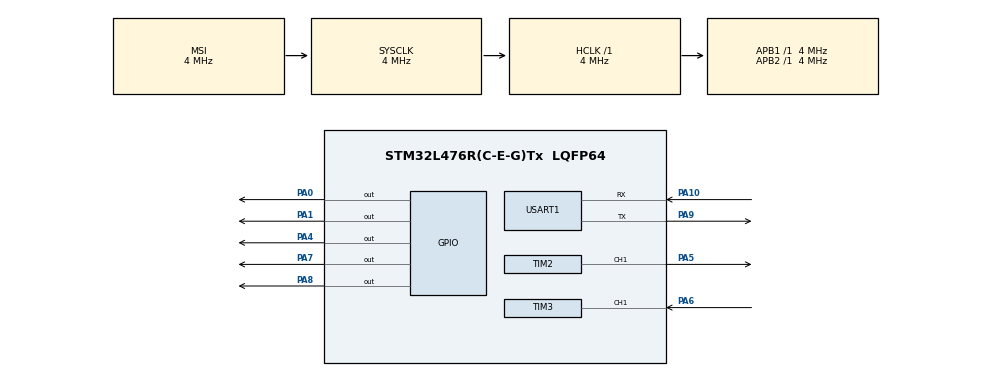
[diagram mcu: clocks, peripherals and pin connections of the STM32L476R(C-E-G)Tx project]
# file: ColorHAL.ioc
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Mcu.Family=STM32L4
Mcu.Name=STM32L476R(C-E-G)Tx
Mcu.Package=LQFP64
NVIC.PriorityGroup=NVIC_PRIORITYGROUP_4
NVIC.TIM4_IRQn=true\:0\:0\:false\:false\:true\:true\:true
PA0.Signal=GPIO_Output
PA1.Signal=GPIO_Output
PA10.Mode=Asynchronous
PA10.Signal=USART1_RX
PA4.Signal=GPIO_Output
PA5.Signal=S_TIM2_CH1
PA6.Signal=S_TIM3_CH1
PA7.Signal=GPIO_Output
PA8.Signal=GPIO_Output
PA9.Mode=Asynchronous
PA9.Signal=USART1_TX
ProjectManager.HeapSize=0x200
ProjectManager.StackSize=0x400
ProjectManager.TargetToolchain=MDK-ARM V5.27
RCC.ADCFreq_Value=64000000
RCC.AHBFreq_Value=4000000
RCC.APB1Freq_Value=4000000
RCC.APB1TimFreq_Value=4000000
RCC.APB2Freq_Value=4000000
RCC.APB2TimFreq_Value=4000000
RCC.CortexFreq_Value=4000000
RCC.HCLKFreq_Value=4000000
RCC.HSE_VALUE=8000000
RCC.HSI_VALUE=16000000
RCC.LSE_VALUE=32768
RCC.MSI_VALUE=4000000
RCC.PLLN=10
RCC.PLLSourceVirtual=RCC_PLLSOURCE_HSI
RCC.PREFETCH_ENABLE=1
RCC.SYSCLKFreq_VALUE=4000000
RCC.USBFreq_Value=64000000
RCC.VCOOutputFreq_Value=160000000
SH.S_TIM2_CH1.0=TIM2_CH1,PWM Generation1 CH1
SH.S_TIM3_CH1.0=TIM3_CH1,TriggerSource_TI1FP1
TIM2.Channel-PWM\ Generation1\ CH1=TIM_CHANNEL_1
TIM2.Period=39
TIM2.Prescaler=9
TIM3.CounterMode=TIM_COUNTERMODE_UP
TIM3.Period=0xffff
TIM3.Prescaler=0
TIM3.Slave_TriggerPolarity=TIM_TRIGGERPOLARITY_FALLING
TIM3.TIM_MasterOutputTrigger=TIM_TRGO_UPDATE
TIM3.TIM_MasterSlaveMode=TIM_MASTERSLAVEMODE_DISABLE
TIM4.Period=3999
TIM4.Prescaler=9
USART1.VirtualMode-Asynchronous=VM_ASYNC
VP_TIM2_VS_ClockSourceINT.Mode=Internal
VP_TIM3_VS_ControllerModeClock.Mode=Clock Mode
VP_TIM4_VS_ClockSourceINT.Mode=Internal
board=NUCLEO-L476RG

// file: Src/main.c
/* USER CODE BEGIN Header */
/**
  ******************************************************************************
  * @file           : main.c
  * @brief          : Main program body
  ******************************************************************************
  * @attention
  *
  * <h2><center>&copy; Copyright (c) 2021 STMicroelectronics.
  * All rights reserved.</center></h2>
  *
  * This software component is licensed by ST under BSD 3-Clause license,
  * the "License"; You may not use this file except in compliance with the
  * License. You may obtain a copy of the License at:
  *                        opensource.org/licenses/BSD-3-Clause
  *
  ******************************************************************************
  */
/* USER CODE END Header */

#include "main.h"

TIM_HandleTypeDef htim2;
TIM_HandleTypeDef htim3;
TIM_HandleTypeDef htim4;

UART_HandleTypeDef huart1;

void SystemClock_Config(void);
static void MX_GPIO_Init(void);
static void MX_TIM3_Init(void);
static void MX_TIM4_Init(void);
static void MX_TIM2_Init(void);
static void MX_USART1_UART_Init(void);

/* USER CODE BEGIN 0 */
short count; //用来判断是第几次
short RGB[3];//用来存放读取回来的数据
short R,G,B; //存放比例系数

char Test1[]="#5P825S300#4P1475S300#3P1600S300#2P2000S300#1P570S300#0P1000S300\r\n";
char Test2[]="#5P1520S300#4P1240S300#3P1300S300#2P1670S300#1P570S300#0P1000S300\r\n";
char Test3[]="#5P1520S300#4P1240S300#3P1060S300#2P1670S300#1P570S300#0P1000S300\r\n";
char Test4[]="#5P1520S300#4P1240S300#3P1060S300#2P1670S300#1P570S300#0P2200S300\r\n";
char Test5[]="#5P1520S300#4P1240S300#3P1200S300#2P1670S300#1P570S300#0P2200S300\r\n";
char Test6[]="#5P1120S300#4P1370S300#3P990S300#2P1670S300#1P570S300#0P2200S300\r\n";
char Test7[]="#5P1120S300#4P1370S300#3P990S300#2P1670S300#1P570S300#0P1000S300\r\n";

void Set_Speed(int speed)
{

	TIM_OC_InitTypeDef sConfigOC = {0};

	sConfigOC.OCMode = TIM_OCMODE_PWM1;
	sConfigOC.Pulse = speed;
	sConfigOC.OCPolarity = TIM_OCPOLARITY_HIGH;
	sConfigOC.OCFastMode = TIM_OCFAST_DISABLE;
	if (HAL_TIM_PWM_ConfigChannel(&htim2, &sConfigOC, TIM_CHANNEL_1) != HAL_OK)
	{
		Error_Handler();
	}
 }
void Turn_Forward(void)
{
	HAL_GPIO_WritePin(GPIOA,GPIO_PIN_4, GPIO_PIN_SET);      //PA4=INB1    PA5=INA1
	Set_Speed(18);
	HAL_TIM_PWM_Start(&htim2,TIM_CHANNEL_1);
//	HAL_GPIO_WritePin(GPIOA,GPIO_PIN_5, GPIO_PIN_SET);
}

void Turn_Back(void)
{

	HAL_GPIO_WritePin(GPIOA, GPIO_PIN_4, GPIO_PIN_RESET);
	Set_Speed(30);
	HAL_TIM_PWM_Start(&htim2,TIM_CHANNEL_1);
}

void Turn_Off(void)
{
	HAL_GPIO_WritePin(GPIOA,GPIO_PIN_4, GPIO_PIN_RESET);      //PA4=INB1    PA5=INA1
	Set_Speed(20);
	HAL_TIM_PWM_Start(&htim2,TIM_CHANNEL_1);
}
void Taking(void)
{
	Turn_Off();
	HAL_UART_Transmit(&huart1,(uint8_t *)Test1,70,10);
	HAL_Delay(3000);
	HAL_UART_Transmit(&huart1,(uint8_t *)Test2,70,10);
	HAL_Delay(3000);
	HAL_UART_Transmit(&huart1,(uint8_t *)Test3,70,10);
	HAL_Delay(3000);
	HAL_UART_Transmit(&huart1,(uint8_t *)Test4,70,10);
	HAL_Delay(3000);
	HAL_UART_Transmit(&huart1,(uint8_t *)Test5,70,10);
	HAL_Delay(3000);
	HAL_UART_Transmit(&huart1,(uint8_t *)Test6,70,10);
	HAL_Delay(3000);
	HAL_UART_Transmit(&huart1,(uint8_t *)Test7,70,10);
	HAL_Delay(3000);
	HAL_UART_Transmit(&huart1,(uint8_t *)Test1,70,10);
	HAL_Delay(3000);
}
/* USER CODE END 0 */

int main(void)
{

  /* MCU Configuration--------------------------------------------------------*/

  /* Reset of all peripherals, Initializes the Flash interface and the Systick. */
  HAL_Init();

  /* Configure the system clock */
  SystemClock_Config();

  /* Initialize all configured peripherals */
  MX_GPIO_Init();
  MX_TIM3_Init();
  MX_TIM4_Init();
  MX_TIM2_Init();
  MX_USART1_UART_Init();
  /* USER CODE BEGIN 2 */
  HAL_GPIO_WritePin(GPIOA, GPIO_PIN_4, GPIO_PIN_SET);         //INA1
  HAL_GPIO_WritePin(GPIOA, GPIO_PIN_0, GPIO_PIN_RESET);       //S2
  HAL_GPIO_WritePin(GPIOA, GPIO_PIN_1, GPIO_PIN_RESET);       //S3
  HAL_GPIO_WritePin(GPIOA, GPIO_PIN_7, GPIO_PIN_SET);         //S0
  HAL_GPIO_WritePin(GPIOA, GPIO_PIN_8, GPIO_PIN_SET);         //S1
  __HAL_TIM_CLEAR_IT(&htim4,TIM_IT_UPDATE);
  HAL_TIM_Base_Start_IT(&htim4);
  __HAL_TIM_CLEAR_IT(&htim3,TIM_IT_UPDATE);
  HAL_TIM_Base_Start(&htim3);
  __HAL_TIM_CLEAR_IT(&htim2,TIM_IT_UPDATE);
//  HAL_TIM_PWM_Start(&htim2,TIM_CHANNEL_1);
  count = 0;
  RGB[0]=0;
  RGB[1]=0;
  RGB[2]=0;
  R=3;
  G=1;
  B=2;
	HAL_UART_Transmit(&huart1,(uint8_t *)Test1,70,10);
	HAL_Delay(3000);
  /* USER CODE END 2 */

  /* Infinite loop */
  while (1)
  {
    Turn_Forward();

		if(RGB[0]>0x50&&RGB[2]<0x60)
		{
			Taking();
		}
  }
}

void SystemClock_Config(void)
{
  RCC_OscInitTypeDef RCC_OscInitStruct = {0};
  RCC_ClkInitTypeDef RCC_ClkInitStruct = {0};
  RCC_PeriphCLKInitTypeDef PeriphClkInit = {0};

  /** Initializes the CPU, AHB and APB busses clocks
  */
  RCC_OscInitStruct.OscillatorType = RCC_OSCILLATORTYPE_MSI;
  RCC_OscInitStruct.MSIState = RCC_MSI_ON;
  RCC_OscInitStruct.MSICalibrationValue = 0;
  RCC_OscInitStruct.MSIClockRange = RCC_MSIRANGE_6;
  RCC_OscInitStruct.PLL.PLLState = RCC_PLL_NONE;
  if (HAL_RCC_OscConfig(&RCC_OscInitStruct) != HAL_OK)
  {
    Error_Handler();
  }
  /** Initializes the CPU, AHB and APB busses clocks
  */
  RCC_ClkInitStruct.ClockType = RCC_CLOCKTYPE_HCLK|RCC_CLOCKTYPE_SYSCLK
                              |RCC_CLOCKTYPE_PCLK1|RCC_CLOCKTYPE_PCLK2;
  RCC_ClkInitStruct.SYSCLKSource = RCC_SYSCLKSOURCE_MSI;
  RCC_ClkInitStruct.AHBCLKDivider = RCC_SYSCLK_DIV1;
  RCC_ClkInitStruct.APB1CLKDivider = RCC_HCLK_DIV1;
  RCC_ClkInitStruct.APB2CLKDivider = RCC_HCLK_DIV1;

  if (HAL_RCC_ClockConfig(&RCC_ClkInitStruct, FLASH_LATENCY_0) != HAL_OK)
  {
    Error_Handler();
  }
  PeriphClkInit.PeriphClockSelection = RCC_PERIPHCLK_USART1;
  PeriphClkInit.Usart1ClockSelection = RCC_USART1CLKSOURCE_PCLK2;
  if (HAL_RCCEx_PeriphCLKConfig(&PeriphClkInit) != HAL_OK)
  {
    Error_Handler();
  }
  /** Configure the main internal regulator output voltage
  */
  if (HAL_PWREx_ControlVoltageScaling(PWR_REGULATOR_VOLTAGE_SCALE1) != HAL_OK)
  {
    Error_Handler();
  }
}

static void MX_TIM2_Init(void)
{

  TIM_ClockConfigTypeDef sClockSourceConfig = {0};
  TIM_MasterConfigTypeDef sMasterConfig = {0};
  TIM_OC_InitTypeDef sConfigOC = {0};

  htim2.Instance = TIM2;
  htim2.Init.Prescaler = 9;
  htim2.Init.CounterMode = TIM_COUNTERMODE_UP;
  htim2.Init.Period = 39;
  htim2.Init.ClockDivision = TIM_CLOCKDIVISION_DIV1;
  htim2.Init.AutoReloadPreload = TIM_AUTORELOAD_PRELOAD_DISABLE;
  if (HAL_TIM_Base_Init(&htim2) != HAL_OK)
  {
    Error_Handler();
  }
  sClockSourceConfig.ClockSource = TIM_CLOCKSOURCE_INTERNAL;
  if (HAL_TIM_ConfigClockSource(&htim2, &sClockSourceConfig) != HAL_OK)
  {
    Error_Handler();
  }
  if (HAL_TIM_PWM_Init(&htim2) != HAL_OK)
  {
    Error_Handler();
  }
  sMasterConfig.MasterOutputTrigger = TIM_TRGO_RESET;
  sMasterConfig.MasterSlaveMode = TIM_MASTERSLAVEMODE_DISABLE;
  if (HAL_TIMEx_MasterConfigSynchronization(&htim2, &sMasterConfig) != HAL_OK)
  {
    Error_Handler();
  }
  sConfigOC.OCMode = TIM_OCMODE_PWM1;
  sConfigOC.Pulse = 0;
  sConfigOC.OCPolarity = TIM_OCPOLARITY_HIGH;
  sConfigOC.OCFastMode = TIM_OCFAST_DISABLE;
  if (HAL_TIM_PWM_ConfigChannel(&htim2, &sConfigOC, TIM_CHANNEL_1) != HAL_OK)
  {
    Error_Handler();
  }
  HAL_TIM_MspPostInit(&htim2);

}

static void MX_TIM3_Init(void)
{

  TIM_SlaveConfigTypeDef sSlaveConfig = {0};
  TIM_MasterConfigTypeDef sMasterConfig = {0};

  htim3.Instance = TIM3;
  htim3.Init.Prescaler = 0;
  htim3.Init.CounterMode = TIM_COUNTERMODE_UP;
  htim3.Init.Period = 0xffff;
  htim3.Init.ClockDivision = TIM_CLOCKDIVISION_DIV1;
  htim3.Init.AutoReloadPreload = TIM_AUTORELOAD_PRELOAD_DISABLE;
  if (HAL_TIM_Base_Init(&htim3) != HAL_OK)
  {
    Error_Handler();
  }
  sSlaveConfig.SlaveMode = TIM_SLAVEMODE_EXTERNAL1;
  sSlaveConfig.InputTrigger = TIM_TS_TI1FP1;
  sSlaveConfig.TriggerPolarity = TIM_TRIGGERPOLARITY_FALLING;
  sSlaveConfig.TriggerFilter = 0;
  if (HAL_TIM_SlaveConfigSynchro(&htim3, &sSlaveConfig) != HAL_OK)
  {
    Error_Handler();
  }
  sMasterConfig.MasterOutputTrigger = TIM_TRGO_UPDATE;
  sMasterConfig.MasterSlaveMode = TIM_MASTERSLAVEMODE_DISABLE;
  if (HAL_TIMEx_MasterConfigSynchronization(&htim3, &sMasterConfig) != HAL_OK)
  {
    Error_Handler();
  }

}

static void MX_TIM4_Init(void)
{

  TIM_ClockConfigTypeDef sClockSourceConfig = {0};
  TIM_MasterConfigTypeDef sMasterConfig = {0};

  htim4.Instance = TIM4;
  htim4.Init.Prescaler = 9;
  htim4.Init.CounterMode = TIM_COUNTERMODE_UP;
  htim4.Init.Period = 3999;
  htim4.Init.ClockDivision = TIM_CLOCKDIVISION_DIV1;
  htim4.Init.AutoReloadPreload = TIM_AUTORELOAD_PRELOAD_DISABLE;
  if (HAL_TIM_Base_Init(&htim4) != HAL_OK)
  {
    Error_Handler();
  }
  sClockSourceConfig.ClockSource = TIM_CLOCKSOURCE_INTERNAL;
  if (HAL_TIM_ConfigClockSource(&htim4, &sClockSourceConfig) != HAL_OK)
  {
    Error_Handler();
  }
  sMasterConfig.MasterOutputTrigger = TIM_TRGO_RESET;
  sMasterConfig.MasterSlaveMode = TIM_MASTERSLAVEMODE_DISABLE;
  if (HAL_TIMEx_MasterConfigSynchronization(&htim4, &sMasterConfig) != HAL_OK)
  {
    Error_Handler();
  }

}

static void MX_USART1_UART_Init(void)
{

  huart1.Instance = USART1;
  huart1.Init.BaudRate = 115200;
  huart1.Init.WordLength = UART_WORDLENGTH_8B;
  huart1.Init.StopBits = UART_STOPBITS_1;
  huart1.Init.Parity = UART_PARITY_NONE;
  huart1.Init.Mode = UART_MODE_TX_RX;
  huart1.Init.HwFlowCtl = UART_HWCONTROL_NONE;
  huart1.Init.OverSampling = UART_OVERSAMPLING_16;
  huart1.Init.OneBitSampling = UART_ONE_BIT_SAMPLE_DISABLE;
  huart1.AdvancedInit.AdvFeatureInit = UART_ADVFEATURE_NO_INIT;
  if (HAL_UART_Init(&huart1) != HAL_OK)
  {
    Error_Handler();
  }

}

static void MX_GPIO_Init(void)
{
  GPIO_InitTypeDef GPIO_InitStruct = {0};

  /* GPIO Ports Clock Enable */
  __HAL_RCC_GPIOA_CLK_ENABLE();

  /*Configure GPIO pin Output Level */
  HAL_GPIO_WritePin(GPIOA, GPIO_PIN_0|GPIO_PIN_1|GPIO_PIN_4|GPIO_PIN_7
                          |GPIO_PIN_8, GPIO_PIN_RESET);

  /*Configure GPIO pins : PA0 PA1 PA4 PA7
                           PA8 */
  GPIO_InitStruct.Pin = GPIO_PIN_0|GPIO_PIN_1|GPIO_PIN_4|GPIO_PIN_7
                          |GPIO_PIN_8;
  GPIO_InitStruct.Mode = GPIO_MODE_OUTPUT_PP;
  GPIO_InitStruct.Pull = GPIO_NOPULL;
  GPIO_InitStruct.Speed = GPIO_SPEED_FREQ_LOW;
  HAL_GPIO_Init(GPIOA, &GPIO_InitStruct);

}

void Error_Handler(void)
{
}

/************************ (C) COPYRIGHT STMicroelectronics *****END OF FILE****/
